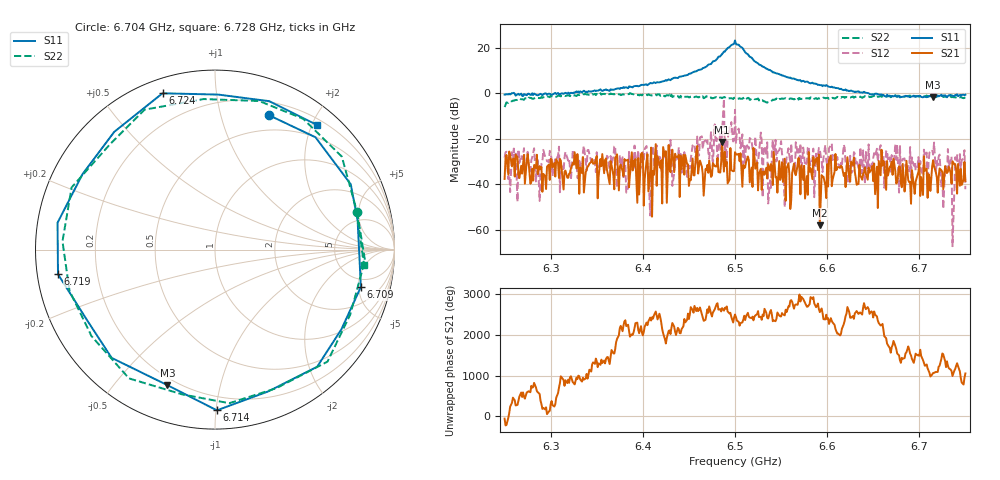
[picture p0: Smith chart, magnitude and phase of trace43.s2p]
# Hz S RI R 50
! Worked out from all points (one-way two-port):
!   401 points, 6.25 GHz to 6.75 GHz, reference 50 ohm
!   highest |S21| = -21.51 dB at 6.486 GHz (marker M1); lowest = -58.1 dB at 6.592 GHz (marker M2)
!   lowest |S11| = -1.9 dB at 6.715 GHz (marker M3), VSWR 9.02, Z = 8.27 - j34.8 ohm
!   |S11| at or under -10 dB: nowhere
!   |S22| runs from -6.1 to 0.0 dB; largest |S21 - S12| = 0.73
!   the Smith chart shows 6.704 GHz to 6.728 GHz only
!   S11 on the Smith chart (normalised r, x): 6.704 GHz: 0.33, +1.42; 6.709 GHz: 3.78, -5.31; 6.714 GHz: 0.11, -1.01; 6.719 GHz: 0.06, -0.08; 6.724 GHz: 0.06, +0.72; 6.728 GHz: 0.29, +2.07
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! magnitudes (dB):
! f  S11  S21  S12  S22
! 6.25 GHz  -0.6  -37.7  -28.4  -6.1
! 6.286 GHz  -1.0  -35.6  -28.8  -2.1
! 6.334 GHz  0.4  -35.1  -34.7  -0.8
! 6.368 GHz  1.5  -36.0  -27.9  -0.5
! 6.381 GHz  2.5  -29.6  -31.5  -0.5
! 6.418 GHz  4.7  -31.0  -27.9  -0.6
! 6.449 GHz  8.1  -31.3  -31.2  -1.6
! 6.486 GHz  17.1  -21.5  -16.9  -2.2
! 6.5 GHz  23.1  -25.9  -7.3  -2.0
! 6.536 GHz  10.3  -31.2  -48.5  -3.9
! 6.549 GHz  8.1  -38.1  -23.5  -2.6
! 6.584 GHz  4.6  -37.8  -29.0  -2.3
! 6.592 GHz  3.5  -58.1  -24.8  -2.3
! 6.668 GHz  -1.1  -32.4  -28.2  -1.4
! 6.704 GHz  -1.9  -44.7  -35.8  -1.7
! 6.709 GHz  -1.5  -46.0  -43.0  -1.5
! 6.714 GHz  -1.0  -31.9  -24.9  -1.5
! 6.715 GHz  -1.9  -29.4  -27.0  -1.5
! 6.719 GHz  -1.1  -37.0  -29.2  -1.6
! 6.724 GHz  -0.7  -33.9  -40.9  -1.1
! 6.728 GHz  -0.9  -32.0  -32.3  -1.6
! 6.75 GHz  -0.7  -38.7  -42.2  -2.0
